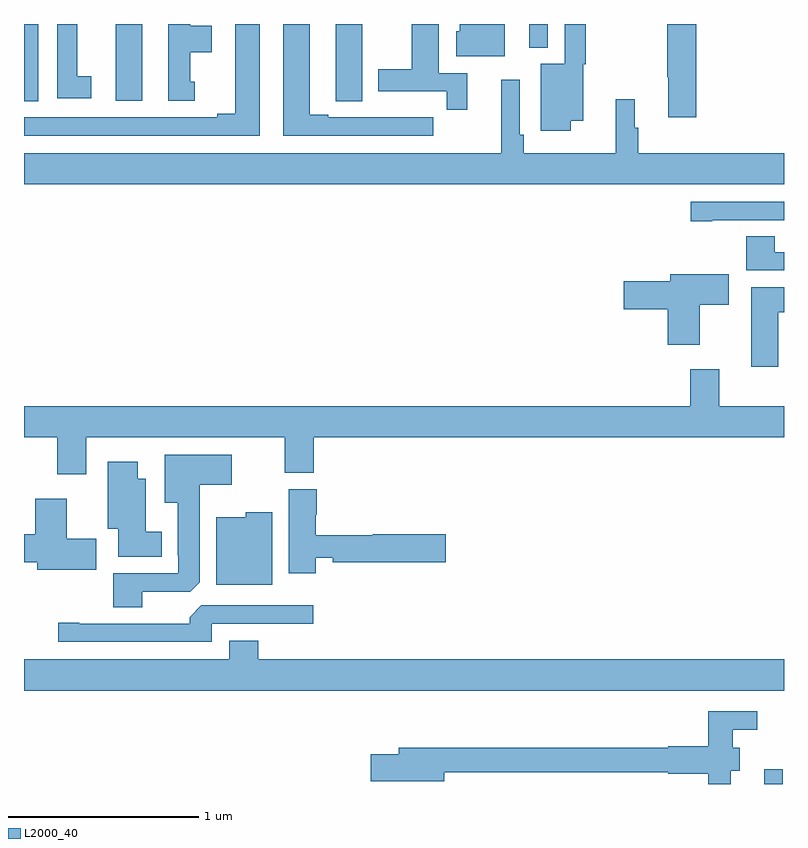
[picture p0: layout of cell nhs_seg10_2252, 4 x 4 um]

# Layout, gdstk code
import gdstk
lib = gdstk.Library(unit=1e-6, precision=1e-09)
def R(c, l, rs):  # rectangles x0, y0, x1, y1
    for r in rs: c.add(gdstk.rectangle(r[:2], r[2:], *l))
def P(c, l, *ps):  # polygons
    for p in ps: c.add(gdstk.Polygon(p, *l))
L2000_40 = (2000, 40)

nhs_seg10_2252 = lib.new_cell('nhs_seg10_2252')
R(nhs_seg10_2252, L2000_40, [(234.897,1290.5,234.993,1290.577), (231,1294.093,231.076,1294.5), (231.482,1294.095,231.622,1294.5), (233.66,1294.376,233.757,1294.5)])
P(nhs_seg10_2252, L2000_40, [(233.53,1294.5),(233.294,1294.5),(233.294,1294.461),(233.276,1294.461),(233.276,1294.331),(233.53,1294.331)],
  [(231.355,1294.226),(231.28,1294.226),(231.28,1294.5),(231.176,1294.5),(231.176,1294.11),(231.355,1294.11)],
  [(234.539,1294.5),(234.385,1294.5),(234.385,1294.22),(234.392,1294.22),(234.392,1294.008),(234.539,1294.008)],
  [(232.24,1294.5),(232.112,1294.5),(232.112,1294.028),(232.016,1294.028),(232.016,1294.008),(231,1294.008),(231,1293.912),(232.24,1293.912)],
  [(233.878,1293.992),(233.944,1293.992),(233.944,1294.287),(233.956,1294.287),(233.956,1294.5),(233.847,1294.5),(233.847,1294.291),(233.72,1294.291),(233.72,1293.939),(233.878,1293.939)],
  [(233.333,1294.242),(233.182,1294.242),(233.182,1294.5),(233.042,1294.5),(233.042,1294.263),(232.865,1294.263),(232.865,1294.146),(233.224,1294.146),(233.224,1294.05),(233.333,1294.05)],
  [(232.78,1294.5),(232.64,1294.5),(232.64,1294.201),(232.641,1294.201),(232.641,1294.093),(232.78,1294.093)],
  [(233.155,1294.008),(233.042,1294.008),(233.042,1294.009),(232.876,1294.009),(232.876,1294.008),(232.6,1294.008),(232.6,1294.023),(232.504,1294.023),(232.504,1294.5),(232.364,1294.5),(232.364,1293.912),(233.155,1293.912)],
  [(231.898,1294.197),(231.874,1294.197),(231.874,1294.352),(231.988,1294.352),(231.988,1294.492),(231.874,1294.492),(231.874,1294.5),(231.758,1294.5),(231.758,1294.095),(231.898,1294.095)],
  [(235,1293.82),(234.233,1293.82),(234.233,1293.954),(234.214,1293.954),(234.214,1294.105),(234.115,1294.105),(234.115,1293.82),(233.63,1293.82),(233.63,1293.916),(233.61,1293.916),(233.61,1294.207),(233.513,1294.207),(233.513,1293.82),(231,1293.82),(231,1293.656),(235,1293.656)],
  [(234.622,1293.468),(235,1293.468),(235,1293.564),(234.51,1293.564),(234.51,1293.463),(234.622,1293.463)],
  [(235,1293.3),(234.952,1293.3),(234.952,1293.383),(234.8,1293.383),(234.8,1293.204),(235,1293.204)],
  [(234.556,1293.022),(234.709,1293.022),(234.709,1293.184),(234.401,1293.184),(234.401,1293.146),(234.156,1293.146),(234.156,1292.999),(234.389,1292.999),(234.389,1292.811),(234.556,1292.811)],
  [(234.97,1292.984),(235,1292.984),(235,1293.115),(234.827,1293.115),(234.827,1292.697),(234.97,1292.697)],
  [(231.328,1292.324),(232.373,1292.324),(232.373,1292.137),(232.526,1292.137),(232.526,1292.324),(235,1292.324),(235,1292.488),(234.658,1292.488),(234.658,1292.683),(234.506,1292.683),(234.506,1292.488),(231,1292.488),(231,1292.324),(231.176,1292.324),(231.176,1292.13),(231.328,1292.13)],
  [(231.622,1291.512),(231.876,1291.512),(231.925,1291.561),(231.925,1292.075),(232.093,1292.075),(232.093,1292.233),(231.74,1292.233),(231.74,1291.979),(231.809,1291.979),(231.809,1291.705),(231.813,1291.705),(231.813,1291.608),(231.47,1291.608),(231.47,1291.429),(231.622,1291.429)],
  [(231.724,1291.828),(231.64,1291.828),(231.64,1292.107),(231.598,1292.107),(231.598,1292.197),(231.44,1292.197),(231.44,1291.844),(231.497,1291.844),(231.497,1291.697),(231.724,1291.697)],
  [(232.536,1291.69),(232.624,1291.69),(232.624,1291.667),(233.221,1291.667),(233.221,1291.814),(232.836,1291.814),(232.836,1291.808),(232.536,1291.808),(232.536,1291.916),(232.541,1291.916),(232.541,1292.052),(232.394,1292.052),(232.394,1291.608),(232.536,1291.608)],
  [(231.379,1291.791),(231.226,1291.791),(231.226,1292.002),(231.059,1292.002),(231.059,1291.814),(231,1291.814),(231,1291.667),(231.071,1291.667),(231.071,1291.628),(231.379,1291.628)],
  [(232.306,1291.93),(232.167,1291.93),(232.167,1291.903),(232.013,1291.903),(232.013,1291.55),(232.306,1291.55)],
  [(231.987,1291.344),(232.522,1291.344),(232.522,1291.44),(231.933,1291.44),(231.872,1291.378),(231.872,1291.344),(231.292,1291.344),(231.292,1291.349),(231.18,1291.349),(231.18,1291.248),(231.987,1291.248)],
  [(235,1291.156),(232.232,1291.156),(232.232,1291.255),(232.079,1291.255),(232.079,1291.156),(231,1291.156),(231,1290.992),(235,1290.992)],
  [(234.719,1290.569),(234.766,1290.569),(234.766,1290.691),(234.73,1290.691),(234.73,1290.786),(234.859,1290.786),(234.859,1290.882),(234.601,1290.882),(234.601,1290.699),(234.39,1290.699),(234.39,1290.691),(232.973,1290.691),(232.973,1290.657),(232.824,1290.657),(232.824,1290.515),(233.212,1290.515),(233.212,1290.562),(234.39,1290.562),(234.39,1290.554),(234.601,1290.554),(234.601,1290.5),(234.719,1290.5)])

lib.write_gds('nhs_seg10_2252.gds')
